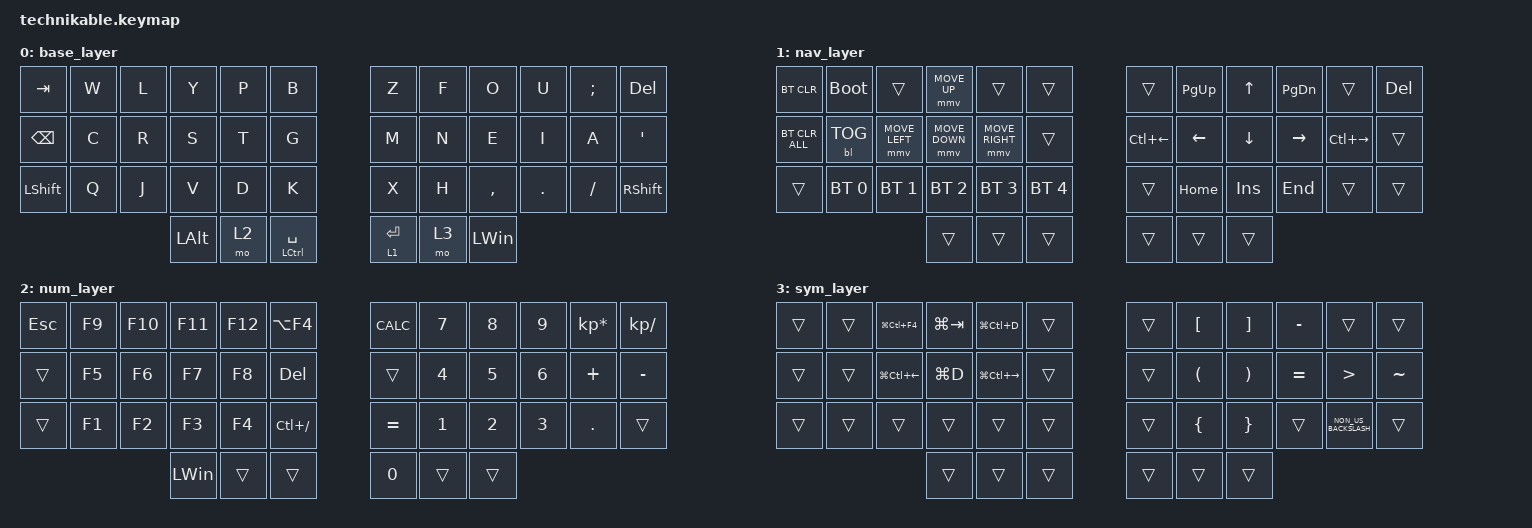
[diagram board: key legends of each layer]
/*
 * Copyright (c) 2022 Pete Johanson
 *
 * SPDX-License-Identifier: MIT
 */

#include <behaviors.dtsi>
#include <dt-bindings/zmk/backlight.h>
#include <dt-bindings/zmk/bt.h>
#include <dt-bindings/zmk/keys.h>

#define ZMK_POINTING_DEFAULT_MOVE_VAL 1500  // default: 600
#define ZMK_POINTING_DEFAULT_SCRL_VAL 20    // default: 10

#include <dt-bindings/zmk/pointing.h>

#define BAS_L 0
#define NAV_L 1
#define NUM_L 2
#define SYM_L 3

// Using layer taps on thumbs, having quick tap as well helps w/ repeating space/backspace

&lt { quick_tap_ms = <200>; };

/ {
    chosen { zmk,matrix_transform = &dual_2u_transform; };

    conditional_layers { compatible = "zmk,conditional-layers"; };

    combos {
        compatible = "zmk,combos";

        capslock {
            bindings = <&kp CAPS>;
            key-positions = <24 35>;
        };
    };

    keymap {
        compatible = "zmk,keymap";

        base_layer {
            bindings = <
&kp TAB         &kp W  &kp L     &kp Y  &kp P                   &kp B               &kp Z  &kp F  &kp O         &kp U    &kp SEMI  &kp DEL
&kp BACKSPACE   &kp C  &kp R     &kp S  &kp T                   &kp G               &kp M  &kp N  &kp E         &kp I    &kp A     &kp SQT
&kp LEFT_SHIFT  &kp Q  &kp J     &kp V  &kp D                   &kp K               &kp X  &kp H  &kp COMMA     &kp DOT  &kp FSLH  &kp RIGHT_SHIFT
                       &kp LALT  &mo 2  &mt LEFT_CONTROL SPACE         &lt 1 ENTER         &mo 3  &kp LEFT_WIN
            >;
        };

        nav_layer {
            bindings = <
&bt BT_CLR      &bootloader   &trans          &mmv MOVE_UP    &trans           &trans                &trans              &kp PAGE_UP     &kp UP_ARROW    &kp PAGE_DOWN  &trans         &kp DEL
&bt BT_CLR_ALL  &bl BL_TOG    &mmv MOVE_LEFT  &mmv MOVE_DOWN  &mmv MOVE_RIGHT  &trans                &kp LC(LEFT_ARROW)  &kp LEFT_ARROW  &kp DOWN_ARROW  &kp RIGHT      &kp LC(RIGHT)  &trans
&trans          &bt BT_SEL 0  &bt BT_SEL 1    &bt BT_SEL 2    &bt BT_SEL 3     &bt BT_SEL 4          &trans              &kp HOME        &kp INSERT      &kp END        &trans         &trans
                              &trans          &trans          &trans                         &trans                      &trans          &trans
            >;
        };

        num_layer {
            bindings = <
&kp ESCAPE  &kp F9  &kp F10       &kp F11  &kp F12  &kp LA(F4)                  &kp K_CALC  &kp N7        &kp N8        &kp N9        &kp KP_MULTIPLY  &kp KP_DIVIDE
&trans      &kp F5  &kp F6        &kp F7   &kp F8   &kp DEL                     &trans      &kp NUMBER_4  &kp N5        &kp NUMBER_6  &kp PLUS         &kp MINUS
&trans      &kp F1  &kp F2        &kp F3   &kp F4   &kp LC(FSLH)                &kp EQUAL   &kp NUMBER_1  &kp NUMBER_2  &kp NUMBER_3  &kp PERIOD       &trans
                    &kp LEFT_WIN  &trans   &trans                 &kp NUMBER_0              &trans        &trans
            >;
        };

        sym_layer {
            bindings = <
&trans  &trans  &kp LG(LC(F4))    &kp LG(TAB)  &kp LG(LC(D))      &trans          &trans  &kp LEFT_BRACKET      &kp RIGHT_BRACKET      &kp MINUS  &trans                &trans
&trans  &trans  &kp LG(LC(LEFT))  &kp LG(D)    &kp LG(LC(RIGHT))  &trans          &trans  &kp LEFT_PARENTHESIS  &kp RIGHT_PARENTHESIS  &kp EQUAL  &kp GREATER_THAN      &kp TILDE
&trans  &trans  &trans            &trans       &trans             &trans          &trans  &kp LEFT_BRACE        &kp RIGHT_BRACE        &trans     &kp NON_US_BACKSLASH  &trans
                &trans            &trans       &trans                     &trans          &trans                &trans
            >;
        };
    };
};
